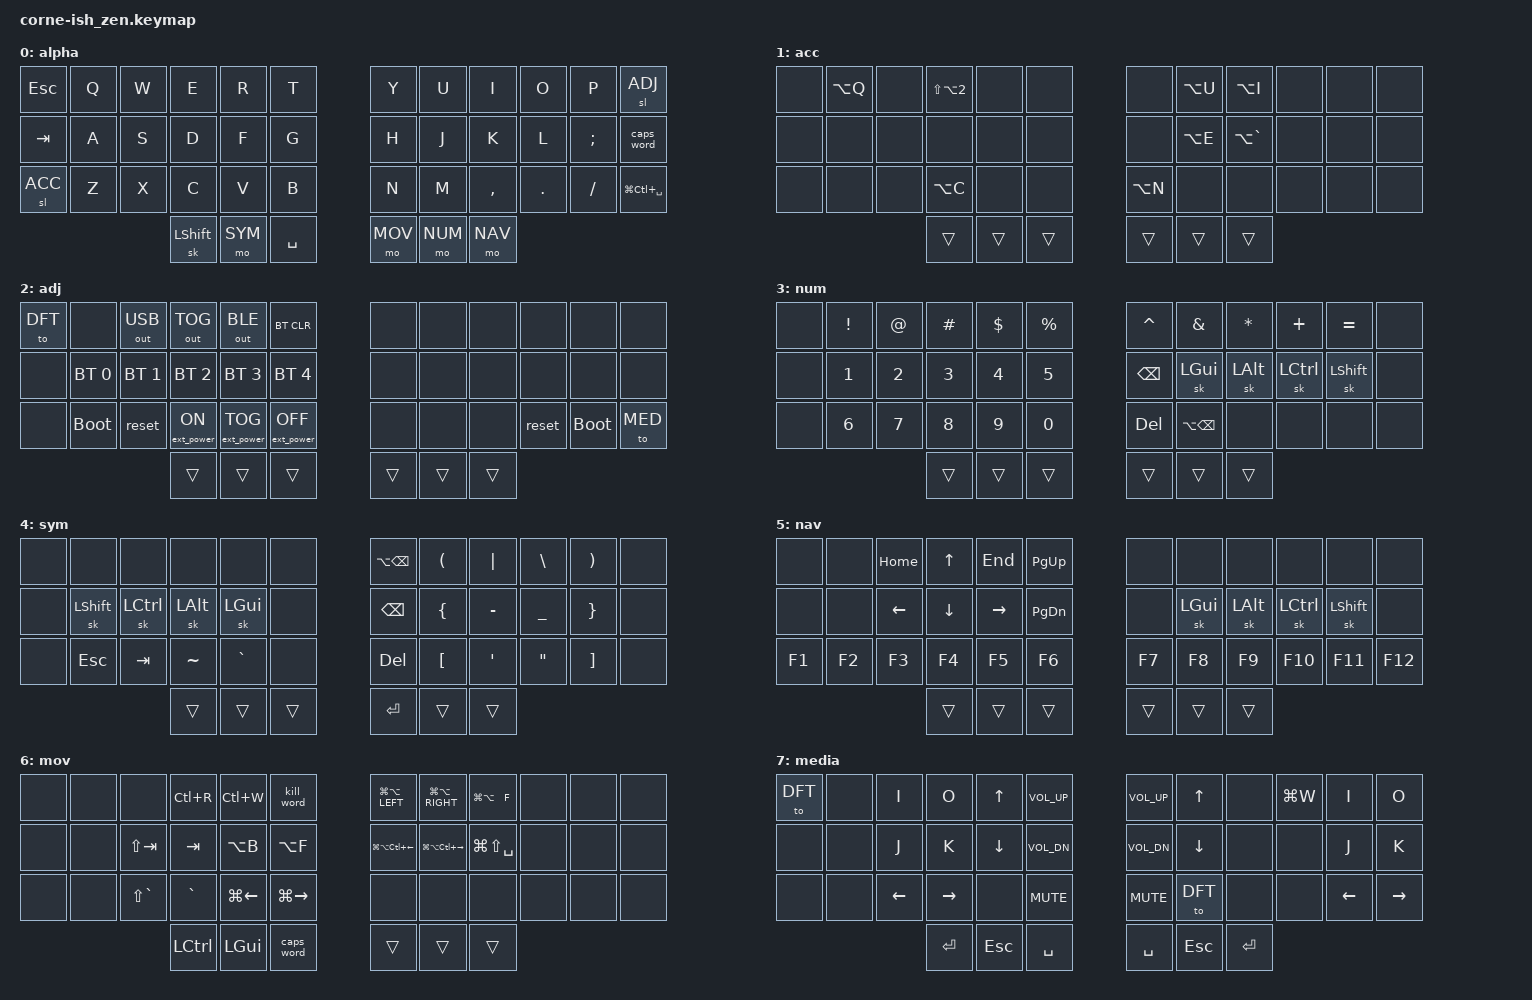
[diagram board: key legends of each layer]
#include <behaviors.dtsi>
#include <dt-bindings/zmk/keys.h>
#include <dt-bindings/zmk/bt.h>
#include <dt-bindings/zmk/outputs.h>
#include <dt-bindings/zmk/ext_power.h>

#define DFT 0

#define ACC 1
#define ADJ 2

#define NUM 3
#define SYM 4
#define NAV 5
#define MOV 6

#define MED 7

#define ___ &none

&sk {
    quick-release;
};

&caps_word {
    continue-list = <MINUS UNDER BSPC DEL>;
};

/*
  0     1   2   3   4   5     6   7   8   9  10    11
 12    13  14  15  16  17    18  19  20  21  22    23
 24    25  26  27  28  29    30  31  32  33  34    35
               36  37  38    39  40  41
*/

/ {
    macros {
        kill_word: kill_word {
            label = "kill_word";
            compatible = "zmk,behavior-macro";
            #binding-cells = <0>;
            bindings = <&macro_tap &kp ESC &kp D>;
        };
    };
    keymap {
        compatible = "zmk,keymap";

        alpha {
            label = "alpha";
            bindings = <
&kp ESC        &kp Q &kp W &kp     E &kp   R &kp     T        &kp   Y &kp   U &kp     I &kp   O &kp    P        &sl ADJ
&kp TAB        &kp A &kp S &kp     D &kp   F &kp     G        &kp   H &kp   J &kp     K &kp   L &kp SEMI        &caps_word
&sl ACC        &kp Z &kp X &kp     C &kp   V &kp     B        &kp   N &kp   M &kp COMMA &kp DOT &kp FSLH        &kp LG(LC(SPACE))
                           &sk LSHFT &mo SYM &kp SPACE        &mo MOV &mo NUM &mo   NAV
            >;
        };
        accents {
            label = "acc";
            bindings = <
___          &kp LA(Q) ___   &kp LS(LA(N2)) ___    ___          ___       &kp LA(U) &kp     LA(I) ___   ___          ___  
___          ___       ___   ___            ___    ___          ___       &kp LA(E) &kp LA(GRAVE) ___   ___          ___  
___          ___       ___   &kp      LA(C) ___    ___          &kp LA(N) ___       ___           ___   ___          ___  
                             &trans         &trans &trans       &trans    &trans    &trans
            >;
        };
        adjust {
            label = "adj";
            bindings = <
&to DFT      ___          &out OUT_USB &out     OUT_TOG &out      OUT_BLE &bt        BT_CLR        ___    ___    ___   ___    ___                ___   
___          &bt BT_SEL 0 &bt BT_SEL 1 &bt     BT_SEL 2 &bt      BT_SEL 3 &bt      BT_SEL 4        ___    ___    ___   ___    ___                ___   
___          &bootloader  &reset       &ext_power EP_ON &ext_power EP_TOG &ext_power EP_OFF        ___    ___    ___   &reset &bootloader        &to MED
                                       &trans           &trans            &trans                   &trans &trans &trans
            >;
        };
        num {
            label = "num";
            bindings = <
___          &kp EXCL &kp AT &kp HASH &kp DLLR &kp PRCNT        &kp CARET &kp     AMPS &kp STAR &kp PLUS  &kp EQUAL        ___  
___          &kp   N1 &kp N2 &kp   N3 &kp   N4 &kp    N5        &kp  BKSP &sk     LGUI &sk LALT &sk LCTRL &sk LSHFT        ___  
___          &kp   N6 &kp N7 &kp   N8 &kp   N9 &kp    N0        &kp   DEL &kp LA(BKSP) ___      ___       ___              ___  
                             &trans   &trans   &trans           &trans    &trans       &trans
            >;
        };
        sym {
            label = "sym";
            bindings = <
___          ___       ___       ___       ___       ___           &kp LA(BKSP) &kp LPAR &kp  PIPE &kp  BSLH &kp RPAR        ___  
___          &sk LSHFT &sk LCTRL &sk  LALT &sk  LGUI ___           &kp     BKSP &kp LBRC &kp MINUS &kp UNDER &kp RBRC        ___  
___          &kp   ESC &kp   TAB &kp TILDE &kp GRAVE ___           &kp      DEL &kp LBKT &kp   SQT &kp   DQT &kp RBKT        ___  
                                 &trans    &trans    &trans        &kp      RET &trans   &trans
            >;
        };
        nav {
            label = "nav";
            bindings = <
___           ___    &kp HOME &kp   UP &kp   END &kp PG_UP        ___    ___      ___      ___       ___              ___  
___           ___    &kp LEFT &kp DOWN &kp RIGHT &kp PG_DN        ___    &sk LGUI &sk LALT &sk LCTRL &sk LSHFT        ___  
&kp F1        &kp F2 &kp   F3 &kp   F4 &kp    F5 &kp    F6        &kp F7 &kp   F8 &kp   F9 &kp   F10 &kp   F11        &kp F12
                              &trans   &trans    &trans           &trans &trans   &trans
            >;
        };
        mov {
            label = "mov";
            bindings = <
___          ___   ___           &kp LC(R)    &kp LC(W)    &kill_word           &kp LG(LA(   LEFT )) &kp LG(LA(   RIGHT )) &kp LG(LA(   F )) ___   ___          ___  
___          ___   &kp LS(TAB)   &kp TAB      &kp LA(B)    &kp LA(F)            &kp LG(LA(LC(LEFT))) &kp LG(LA(LC(RIGHT))) &kp LG(LS(SPACE)) ___   ___          ___  
___          ___   &kp LS(GRAVE) &kp GRAVE    &kp LG(LEFT) &kp LG(RIGHT)        ___                  ___                   ___               ___   ___          ___  
                                 &kp LCTRL    &kp LGUI     &caps_word           &trans               &trans                &trans
            >;
        };
        media {
            label = "media";
            bindings = <
&to DFT        ___   &kp    I &kp     O &kp   UP &kp C_VOL_UP        &kp C_VOL_UP &kp   UP ___     &kp LG(W) &kp    I        &kp     O
___            ___   &kp    J &kp     K &kp DOWN &kp C_VOL_DN        &kp C_VOL_DN &kp DOWN ___     ___       &kp    J        &kp     K 
___            ___   &kp LEFT &kp RIGHT ___      &kp   C_MUTE        &kp   C_MUTE &to  DFT ___     ___       &kp LEFT        &kp RIGHT 
                              &kp   RET &kp  ESC &kp    SPACE        &kp    SPACE &kp  ESC &kp RET
            >;
        };
    };
};
